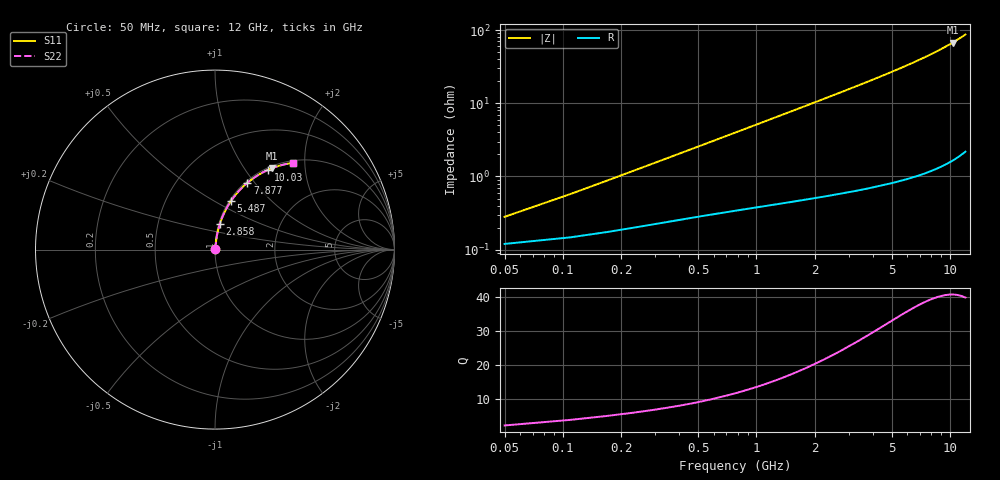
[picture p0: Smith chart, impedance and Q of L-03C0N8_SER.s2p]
! L-03C0N8
! Data taken by Rita
! Created Thu Jun 15 16:07:20 2006
# hz S ma R 50
! 2 Port Network Data from SP1.SP block
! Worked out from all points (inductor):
!   201 points, 50 MHz to 12 GHz, reference 50 ohm
!   read as one part in series: L = 810 pH near 109.8 MHz
!   highest Q = 40.8 at 10.33 GHz (marker M1), where L = 1.04 nH
!   S11 on the Smith chart (normalised r, x): 50 MHz: 1.00, +0.01; 2.858 GHz: 1.01, +0.30; 5.487 GHz: 1.02, +0.60; 7.877 GHz: 1.02, +0.92; 10.03 GHz: 1.03, +1.29; 12 GHz: 1.04, +1.74
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5e7  0.00281 64.6  0.9988 -0.1  0.9988 -0.1  0.00281 64.6
1.0975e8  0.005769 74.9  0.9985 -0.3  0.9985 -0.3  0.005769 74.9
1.695e8  0.008786 78.1  0.9982 -0.5  0.9982 -0.5  0.008786 78.1
2.2925e8  0.01181 79.7  0.998 -0.7  0.998 -0.7  0.01181 79.7
2.89e8  0.01484 80.6  0.9977 -0.8  0.9977 -0.8  0.01484 80.6
3.4875e8  0.01787 81.3  0.9974 -1.0  0.9974 -1.0  0.01787 81.3
4.085e8  0.0209 81.7  0.9972 -1.2  0.9972 -1.2  0.0209 81.7
5.28e8  0.02695 82.3  0.9968 -1.5  0.9968 -1.5  0.02695 82.3
7.67e8  0.03907 82.8  0.9959 -2.2  0.9959 -2.2  0.03907 82.8
9.4625e8  0.04816 82.9  0.9952 -2.8  0.9952 -2.8  0.04816 82.9
1.1255e9  0.05725 82.8  0.9944 -3.3  0.9944 -3.3  0.05725 82.8
1.5438e9  0.07849 82.2  0.9924 -4.5  0.9924 -4.5  0.07849 82.2
2.0815e9  0.1059 81.2  0.9893 -6.1  0.9893 -6.1  0.1059 81.2
2.8583e9  0.1456 79.3  0.9835 -8.4  0.9835 -8.4  0.1456 79.3
4.0533e9  0.2075 76.1  0.9713 -12.0  0.9713 -12.0  0.2075 76.1
5.4873e9  0.2833 71.9  0.9509 -16.4  0.9509 -16.4  0.2833 71.9
6.025e9  0.3122 70.2  0.9414 -18.2  0.9414 -18.2  0.3122 70.2
7.8773e9  0.4139 64.1  0.8999 -24.4  0.8999 -24.4  0.4139 64.1
8.0565e9  0.4239 63.5  0.895 -25.1  0.895 -25.1  0.4239 63.5
1.0028e10  0.5357 56.2  0.8314 -32.4  0.8314 -32.4  0.5357 56.2
1.0327e10  0.5528 55.0  0.8199 -33.5  0.8199 -33.5  0.5528 55.0
1.2e10  0.6482 48.2  0.7454 -40.4  0.7454 -40.4  0.6482 48.2
